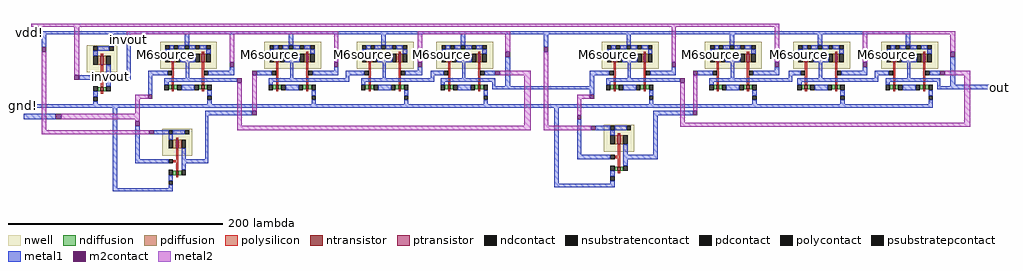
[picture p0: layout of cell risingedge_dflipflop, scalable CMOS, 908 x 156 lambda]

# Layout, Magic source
magic
tech scmos
<< nwell >>
rect -1258 -15 -1230 10
rect -1190 -12 -1137 13
rect -1093 -12 -1040 13
rect -1007 -12 -954 13
rect -933 -12 -880 13
rect -779 -12 -726 13
rect -683 -12 -630 13
rect -601 -12 -548 13
rect -519 -12 -466 13
rect -1188 -93 -1160 -68
rect -777 -89 -749 -64
<< polysilicon >>
rect -1179 2 -1177 4
rect -1151 2 -1149 4
rect -1082 2 -1080 4
rect -1054 2 -1052 4
rect -996 2 -994 4
rect -968 2 -966 4
rect -922 2 -920 4
rect -894 2 -892 4
rect -768 2 -766 4
rect -740 2 -738 4
rect -672 2 -670 4
rect -644 2 -642 4
rect -590 2 -588 4
rect -562 2 -560 4
rect -508 2 -506 4
rect -480 2 -478 4
rect -1245 0 -1243 2
rect -1245 -19 -1243 -8
rect -1248 -21 -1243 -19
rect -1245 -29 -1243 -21
rect -1179 -27 -1177 -6
rect -1151 -27 -1149 -6
rect -1082 -27 -1080 -6
rect -1054 -27 -1052 -6
rect -996 -27 -994 -6
rect -968 -27 -966 -6
rect -922 -27 -920 -6
rect -894 -27 -892 -6
rect -768 -27 -766 -6
rect -740 -27 -738 -6
rect -672 -27 -670 -6
rect -644 -27 -642 -6
rect -590 -27 -588 -6
rect -562 -27 -560 -6
rect -508 -27 -506 -6
rect -480 -27 -478 -6
rect -1179 -33 -1177 -31
rect -1151 -33 -1149 -31
rect -1082 -33 -1080 -31
rect -1054 -33 -1052 -31
rect -996 -33 -994 -31
rect -968 -33 -966 -31
rect -922 -33 -920 -31
rect -894 -33 -892 -31
rect -768 -33 -766 -31
rect -740 -33 -738 -31
rect -672 -33 -670 -31
rect -644 -33 -642 -31
rect -590 -33 -588 -31
rect -562 -33 -560 -31
rect -508 -33 -506 -31
rect -480 -33 -478 -31
rect -1245 -35 -1243 -33
rect -764 -74 -762 -72
rect -1175 -78 -1173 -76
rect -1175 -97 -1173 -86
rect -764 -93 -762 -82
rect -767 -95 -762 -93
rect -1178 -99 -1173 -97
rect -1175 -107 -1173 -99
rect -764 -103 -762 -95
rect -764 -109 -762 -107
rect -1175 -113 -1173 -111
<< ndiffusion >>
rect -1248 -33 -1245 -29
rect -1243 -33 -1240 -29
rect -1182 -31 -1179 -27
rect -1177 -31 -1174 -27
rect -1154 -31 -1151 -27
rect -1149 -31 -1146 -27
rect -1085 -31 -1082 -27
rect -1080 -31 -1077 -27
rect -1057 -31 -1054 -27
rect -1052 -31 -1049 -27
rect -999 -31 -996 -27
rect -994 -31 -991 -27
rect -971 -31 -968 -27
rect -966 -31 -963 -27
rect -925 -31 -922 -27
rect -920 -31 -917 -27
rect -897 -31 -894 -27
rect -892 -31 -889 -27
rect -771 -31 -768 -27
rect -766 -31 -763 -27
rect -743 -31 -740 -27
rect -738 -31 -735 -27
rect -675 -31 -672 -27
rect -670 -31 -667 -27
rect -647 -31 -644 -27
rect -642 -31 -639 -27
rect -593 -31 -590 -27
rect -588 -31 -585 -27
rect -565 -31 -562 -27
rect -560 -31 -557 -27
rect -511 -31 -508 -27
rect -506 -31 -503 -27
rect -483 -31 -480 -27
rect -478 -31 -475 -27
rect -1178 -111 -1175 -107
rect -1173 -111 -1170 -107
rect -767 -107 -764 -103
rect -762 -107 -759 -103
<< pdiffusion >>
rect -1248 -8 -1245 0
rect -1243 -8 -1240 0
rect -1181 -6 -1179 2
rect -1177 -6 -1175 2
rect -1153 -6 -1151 2
rect -1149 -6 -1147 2
rect -1084 -6 -1082 2
rect -1080 -6 -1078 2
rect -1056 -6 -1054 2
rect -1052 -6 -1050 2
rect -998 -6 -996 2
rect -994 -6 -992 2
rect -970 -6 -968 2
rect -966 -6 -964 2
rect -924 -6 -922 2
rect -920 -6 -918 2
rect -896 -6 -894 2
rect -892 -6 -890 2
rect -770 -6 -768 2
rect -766 -6 -764 2
rect -742 -6 -740 2
rect -738 -6 -736 2
rect -674 -6 -672 2
rect -670 -6 -668 2
rect -646 -6 -644 2
rect -642 -6 -640 2
rect -592 -6 -590 2
rect -588 -6 -586 2
rect -564 -6 -562 2
rect -560 -6 -558 2
rect -510 -6 -508 2
rect -506 -6 -504 2
rect -482 -6 -480 2
rect -478 -6 -476 2
rect -1178 -86 -1175 -78
rect -1173 -86 -1170 -78
rect -767 -82 -764 -74
rect -762 -82 -759 -74
<< metal1 >>
rect -1311 20 -492 23
rect -1300 8 -1296 20
rect -1237 9 -1233 20
rect -1248 5 -1237 9
rect -1252 0 -1248 5
rect -1240 -18 -1236 -8
rect -1221 -18 -1217 11
rect -1167 10 -1163 20
rect -1070 10 -1066 20
rect -984 10 -980 20
rect -910 10 -906 20
rect -1181 6 -1177 10
rect -1173 6 -1167 10
rect -1163 6 -1157 10
rect -1153 6 -1147 10
rect -1185 2 -1181 6
rect -1147 2 -1143 6
rect -1171 -6 -1157 2
rect -1084 6 -1080 10
rect -1076 6 -1070 10
rect -1066 6 -1060 10
rect -1056 6 -1050 10
rect -1088 2 -1084 6
rect -1050 2 -1046 6
rect -1074 -6 -1060 2
rect -998 6 -994 10
rect -990 6 -984 10
rect -980 6 -974 10
rect -970 6 -964 10
rect -1002 2 -998 6
rect -964 2 -960 6
rect -988 -6 -974 2
rect -924 6 -920 10
rect -916 6 -910 10
rect -906 6 -900 10
rect -896 6 -890 10
rect -928 2 -924 6
rect -890 2 -886 6
rect -833 8 -829 20
rect -756 10 -752 20
rect -660 10 -656 20
rect -578 10 -574 20
rect -496 10 -492 20
rect -770 6 -766 10
rect -762 6 -756 10
rect -752 6 -746 10
rect -742 6 -736 10
rect -914 -6 -900 2
rect -1265 -22 -1252 -18
rect -1240 -22 -1217 -18
rect -1201 -18 -1183 -14
rect -1240 -28 -1236 -22
rect -1252 -38 -1248 -33
rect -1201 -36 -1197 -18
rect -1166 -21 -1163 -6
rect -1125 -14 -1121 -10
rect -1145 -18 -1121 -14
rect -1100 -18 -1086 -14
rect -1069 -21 -1066 -6
rect -1028 -14 -1024 -10
rect -1048 -18 -1024 -14
rect -1017 -18 -1000 -14
rect -1017 -21 -1014 -18
rect -983 -21 -980 -6
rect -950 -14 -946 -10
rect -962 -18 -946 -14
rect -938 -18 -926 -14
rect -938 -21 -935 -18
rect -909 -21 -906 -6
rect -888 -18 -878 -14
rect -1186 -24 -1118 -21
rect -1186 -27 -1182 -24
rect -1089 -24 -1014 -21
rect -1003 -24 -935 -21
rect -929 -24 -878 -21
rect -1089 -27 -1085 -24
rect -1003 -27 -999 -24
rect -929 -27 -925 -24
rect -1170 -32 -1158 -27
rect -1073 -32 -1061 -27
rect -987 -32 -975 -27
rect -913 -32 -901 -27
rect -881 -28 -878 -24
rect -869 -28 -864 -1
rect -774 2 -770 6
rect -736 2 -732 6
rect -760 -6 -746 2
rect -674 6 -670 10
rect -666 6 -660 10
rect -656 6 -650 10
rect -646 6 -640 10
rect -678 2 -674 6
rect -640 2 -636 6
rect -664 -6 -650 2
rect -592 6 -588 10
rect -584 6 -578 10
rect -574 6 -568 10
rect -564 6 -558 10
rect -596 2 -592 6
rect -558 2 -554 6
rect -582 -6 -568 2
rect -510 6 -506 10
rect -502 6 -496 10
rect -492 6 -486 10
rect -482 6 -476 10
rect -514 2 -510 6
rect -476 2 -472 6
rect -500 -6 -486 2
rect -790 -18 -772 -14
rect -790 -28 -786 -18
rect -755 -21 -752 -6
rect -714 -14 -710 -10
rect -734 -18 -710 -14
rect -690 -18 -676 -14
rect -659 -21 -656 -6
rect -618 -14 -614 -10
rect -638 -18 -614 -14
rect -605 -18 -594 -14
rect -605 -21 -602 -18
rect -577 -21 -574 -6
rect -536 -14 -532 -10
rect -556 -18 -532 -14
rect -525 -18 -512 -14
rect -525 -21 -522 -18
rect -495 -21 -492 -6
rect -474 -18 -464 -14
rect -881 -31 -786 -28
rect -1146 -37 -1142 -32
rect -1252 -45 -1248 -42
rect -1146 -45 -1142 -41
rect -1049 -37 -1045 -32
rect -1049 -45 -1045 -41
rect -963 -37 -959 -32
rect -963 -45 -959 -41
rect -889 -37 -885 -32
rect -790 -36 -786 -31
rect -775 -24 -706 -21
rect -775 -27 -771 -24
rect -679 -24 -602 -21
rect -597 -24 -522 -21
rect -515 -24 -464 -21
rect -679 -27 -675 -24
rect -597 -27 -593 -24
rect -515 -27 -511 -24
rect -759 -32 -747 -27
rect -663 -32 -651 -27
rect -581 -32 -569 -27
rect -499 -32 -487 -27
rect -467 -28 -464 -24
rect -455 -27 -450 -1
rect -455 -28 -409 -27
rect -467 -31 -409 -28
rect -735 -37 -731 -32
rect -889 -45 -885 -41
rect -735 -45 -731 -41
rect -639 -37 -635 -32
rect -639 -45 -635 -41
rect -557 -37 -553 -32
rect -557 -45 -553 -41
rect -475 -37 -471 -32
rect -475 -45 -471 -41
rect -1317 -48 -471 -45
rect -1317 -59 -1287 -54
rect -1234 -123 -1230 -48
rect -1148 -55 -1104 -51
rect -1213 -96 -1209 -65
rect -1196 -73 -1182 -69
rect -1178 -73 -1167 -69
rect -1182 -78 -1178 -73
rect -1170 -96 -1166 -86
rect -1148 -96 -1145 -55
rect -1213 -100 -1182 -96
rect -1170 -100 -1145 -96
rect -1170 -106 -1166 -100
rect -1182 -116 -1178 -111
rect -1182 -123 -1178 -120
rect -823 -119 -819 -48
rect -731 -55 -694 -51
rect -802 -92 -798 -59
rect -785 -69 -771 -65
rect -767 -69 -756 -65
rect -771 -74 -767 -69
rect -759 -92 -755 -82
rect -731 -92 -727 -55
rect -802 -96 -771 -92
rect -759 -96 -727 -92
rect -759 -102 -755 -96
rect -771 -112 -767 -107
rect -771 -119 -767 -116
rect -823 -122 -767 -119
rect -1234 -126 -1178 -123
<< metal2 >>
rect -1310 27 -614 30
rect -1300 -69 -1296 4
rect -1270 -18 -1265 27
rect -1221 20 -1024 23
rect -1221 15 -1217 20
rect -1125 -6 -1121 20
rect -1028 -6 -1024 20
rect -950 20 -864 23
rect -950 -6 -946 20
rect -869 4 -864 20
rect -874 -18 -845 -14
rect -1213 -40 -1201 -36
rect -1213 -54 -1209 -40
rect -1282 -59 -1209 -54
rect -1213 -61 -1209 -59
rect -1118 -65 -1114 -25
rect -1104 -51 -1100 -18
rect -851 -65 -845 -18
rect -1118 -69 -845 -65
rect -833 -65 -829 4
rect -714 -6 -710 27
rect -618 -6 -614 27
rect -536 20 -450 23
rect -536 -6 -532 20
rect -455 4 -450 20
rect -460 -18 -436 -14
rect -802 -40 -790 -36
rect -802 -55 -798 -40
rect -706 -62 -702 -25
rect -694 -51 -690 -18
rect -442 -62 -436 -18
rect -833 -69 -789 -65
rect -706 -66 -436 -62
rect -1300 -73 -1200 -69
<< ntransistor >>
rect -1245 -33 -1243 -29
rect -1179 -31 -1177 -27
rect -1151 -31 -1149 -27
rect -1082 -31 -1080 -27
rect -1054 -31 -1052 -27
rect -996 -31 -994 -27
rect -968 -31 -966 -27
rect -922 -31 -920 -27
rect -894 -31 -892 -27
rect -768 -31 -766 -27
rect -740 -31 -738 -27
rect -672 -31 -670 -27
rect -644 -31 -642 -27
rect -590 -31 -588 -27
rect -562 -31 -560 -27
rect -508 -31 -506 -27
rect -480 -31 -478 -27
rect -1175 -111 -1173 -107
rect -764 -107 -762 -103
<< ptransistor >>
rect -1245 -8 -1243 0
rect -1179 -6 -1177 2
rect -1151 -6 -1149 2
rect -1082 -6 -1080 2
rect -1054 -6 -1052 2
rect -996 -6 -994 2
rect -968 -6 -966 2
rect -922 -6 -920 2
rect -894 -6 -892 2
rect -768 -6 -766 2
rect -740 -6 -738 2
rect -672 -6 -670 2
rect -644 -6 -642 2
rect -590 -6 -588 2
rect -562 -6 -560 2
rect -508 -6 -506 2
rect -480 -6 -478 2
rect -1175 -86 -1173 -78
rect -764 -82 -762 -74
<< polycontact >>
rect -1252 -22 -1248 -18
rect -1183 -18 -1179 -14
rect -1149 -18 -1145 -14
rect -1086 -18 -1082 -14
rect -1052 -18 -1048 -14
rect -1000 -18 -996 -14
rect -966 -18 -962 -14
rect -926 -18 -922 -14
rect -892 -18 -888 -14
rect -772 -18 -768 -14
rect -738 -18 -734 -14
rect -676 -18 -672 -14
rect -642 -18 -638 -14
rect -594 -18 -590 -14
rect -560 -18 -556 -14
rect -512 -18 -508 -14
rect -478 -18 -474 -14
rect -1182 -100 -1178 -96
rect -771 -96 -767 -92
<< ndcontact >>
rect -1252 -33 -1248 -28
rect -1240 -33 -1236 -28
rect -1186 -32 -1182 -27
rect -1174 -32 -1170 -27
rect -1158 -32 -1154 -27
rect -1146 -32 -1142 -27
rect -1089 -32 -1085 -27
rect -1077 -32 -1073 -27
rect -1061 -32 -1057 -27
rect -1049 -32 -1045 -27
rect -1003 -32 -999 -27
rect -991 -32 -987 -27
rect -975 -32 -971 -27
rect -963 -32 -959 -27
rect -929 -32 -925 -27
rect -917 -32 -913 -27
rect -901 -32 -897 -27
rect -889 -32 -885 -27
rect -775 -32 -771 -27
rect -763 -32 -759 -27
rect -747 -32 -743 -27
rect -735 -32 -731 -27
rect -679 -32 -675 -27
rect -667 -32 -663 -27
rect -651 -32 -647 -27
rect -639 -32 -635 -27
rect -597 -32 -593 -27
rect -585 -32 -581 -27
rect -569 -32 -565 -27
rect -557 -32 -553 -27
rect -515 -32 -511 -27
rect -503 -32 -499 -27
rect -487 -32 -483 -27
rect -475 -32 -471 -27
rect -1182 -111 -1178 -106
rect -1170 -111 -1166 -106
rect -771 -107 -767 -102
rect -759 -107 -755 -102
<< pdcontact >>
rect -1252 -8 -1248 0
rect -1240 -8 -1236 0
rect -1185 -6 -1181 2
rect -1175 -6 -1171 2
rect -1157 -6 -1153 2
rect -1147 -6 -1143 2
rect -1088 -6 -1084 2
rect -1078 -6 -1074 2
rect -1060 -6 -1056 2
rect -1050 -6 -1046 2
rect -1002 -6 -998 2
rect -992 -6 -988 2
rect -974 -6 -970 2
rect -964 -6 -960 2
rect -928 -6 -924 2
rect -918 -6 -914 2
rect -900 -6 -896 2
rect -890 -6 -886 2
rect -774 -6 -770 2
rect -764 -6 -760 2
rect -746 -6 -742 2
rect -736 -6 -732 2
rect -678 -6 -674 2
rect -668 -6 -664 2
rect -650 -6 -646 2
rect -640 -6 -636 2
rect -596 -6 -592 2
rect -586 -6 -582 2
rect -568 -6 -564 2
rect -558 -6 -554 2
rect -514 -6 -510 2
rect -504 -6 -500 2
rect -486 -6 -482 2
rect -476 -6 -472 2
rect -1182 -86 -1178 -78
rect -1170 -86 -1166 -78
rect -771 -82 -767 -74
rect -759 -82 -755 -74
<< m2contact >>
rect -1300 4 -1296 8
rect -1221 11 -1217 15
rect -833 4 -829 8
rect -869 -1 -864 4
rect -1270 -22 -1265 -18
rect -1125 -10 -1121 -6
rect -1104 -18 -1100 -14
rect -1028 -10 -1024 -6
rect -950 -10 -946 -6
rect -878 -18 -874 -14
rect -1118 -25 -1114 -21
rect -455 -1 -450 4
rect -714 -10 -710 -6
rect -694 -18 -690 -14
rect -618 -10 -614 -6
rect -536 -10 -532 -6
rect -464 -18 -460 -14
rect -1201 -40 -1197 -36
rect -706 -25 -702 -21
rect -790 -40 -786 -36
rect -1287 -59 -1282 -54
rect -1104 -55 -1100 -51
rect -1213 -65 -1209 -61
rect -1200 -73 -1196 -69
rect -694 -55 -690 -51
rect -802 -59 -798 -55
rect -789 -69 -785 -65
<< psubstratepcontact >>
rect -1252 -42 -1248 -38
rect -1146 -41 -1142 -37
rect -1049 -41 -1045 -37
rect -963 -41 -959 -37
rect -889 -41 -885 -37
rect -735 -41 -731 -37
rect -639 -41 -635 -37
rect -557 -41 -553 -37
rect -475 -41 -471 -37
rect -771 -116 -767 -112
rect -1182 -120 -1178 -116
<< nsubstratencontact >>
rect -1252 5 -1248 9
rect -1237 5 -1233 9
rect -1185 6 -1181 10
rect -1177 6 -1173 10
rect -1167 6 -1163 10
rect -1157 6 -1153 10
rect -1147 6 -1143 10
rect -1088 6 -1084 10
rect -1080 6 -1076 10
rect -1070 6 -1066 10
rect -1060 6 -1056 10
rect -1050 6 -1046 10
rect -1002 6 -998 10
rect -994 6 -990 10
rect -984 6 -980 10
rect -974 6 -970 10
rect -964 6 -960 10
rect -928 6 -924 10
rect -920 6 -916 10
rect -910 6 -906 10
rect -900 6 -896 10
rect -890 6 -886 10
rect -774 6 -770 10
rect -766 6 -762 10
rect -756 6 -752 10
rect -746 6 -742 10
rect -736 6 -732 10
rect -678 6 -674 10
rect -670 6 -666 10
rect -660 6 -656 10
rect -650 6 -646 10
rect -640 6 -636 10
rect -596 6 -592 10
rect -588 6 -584 10
rect -578 6 -574 10
rect -568 6 -564 10
rect -558 6 -554 10
rect -514 6 -510 10
rect -506 6 -502 10
rect -496 6 -492 10
rect -486 6 -482 10
rect -476 6 -472 10
rect -771 -69 -767 -65
rect -756 -69 -752 -65
rect -1182 -73 -1178 -69
rect -1167 -73 -1163 -69
<< labels >>
rlabel m2contact -1221 15 -1217 15 1 invout
rlabel metal1 -1236 -22 -1236 -17 1 invout
rlabel pdcontact -1185 1 -1185 1 1 M6source
rlabel pdcontact -1145 0 -1145 0 1 M7source
rlabel pdcontact -1088 1 -1088 1 1 M6source
rlabel pdcontact -1048 0 -1048 0 1 M7source
rlabel pdcontact -1002 1 -1002 1 1 M6source
rlabel pdcontact -962 0 -962 0 1 M7source
rlabel pdcontact -928 1 -928 1 1 M6source
rlabel pdcontact -888 0 -888 0 1 M7source
rlabel pdcontact -774 1 -774 1 1 M6source
rlabel pdcontact -734 0 -734 0 1 M7source
rlabel pdcontact -678 1 -678 1 1 M6source
rlabel pdcontact -638 0 -638 0 1 M7source
rlabel pdcontact -596 1 -596 1 1 M6source
rlabel pdcontact -556 0 -556 0 1 M7source
rlabel pdcontact -514 1 -514 1 1 M6source
rlabel pdcontact -474 0 -474 0 1 M7source
rlabel metal1 -1317 -48 -1317 -45 3 gnd!
rlabel metal1 -1317 -59 -1317 -54 3 D
rlabel metal1 -1311 20 -1311 23 1 vdd!
rlabel metal2 -1310 27 -1310 30 5 clock
rlabel metal1 -409 -31 -409 -27 7 out
<< end >>
